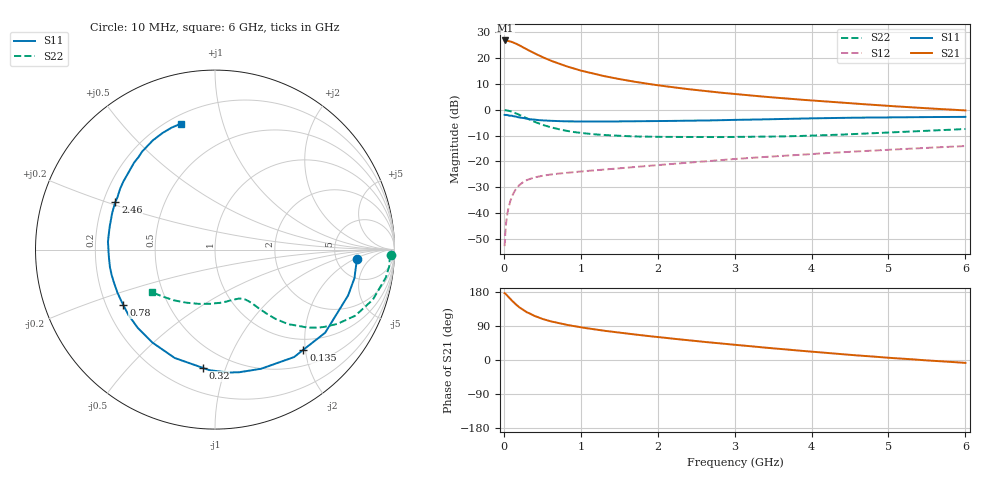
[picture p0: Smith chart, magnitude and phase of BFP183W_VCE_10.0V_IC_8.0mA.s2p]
! Infineon Technologies  Discrete & RF Semiconductors
! BFP183W
! VCE = 10.0V,  IC =  8.0 mA
! Common Emitter S-Parameters:  Jan 2016
# GHz  S  MA  R  50
!  f  S11  S21  S12  S22
! GHz  MAG  ANG  MAG  ANG  MAG  ANG  MAG  ANG
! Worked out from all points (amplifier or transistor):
!   210 points, 10 MHz to 6 GHz, reference 50 ohm
!   highest |S21| = 26.8 dB at 20 MHz (marker M1)
!   |S21| within 3 dB of that: start of sweep to 272.1 MHz
!   unconditionally stable (mu >= 1): 1.608 GHz to 5.499 GHz
!   at 185 MHz: K = 0.19, MSG = 27.4 dB, |S12| = -29.7 dB
!   at 1.52 GHz: K = 0.98, MSG = 17.2 dB, |S12| = -22.6 dB
!   at 6 GHz: K = 0.97, MSG = 6.9 dB, |S12| = -14.0 dB
!   S11 on the Smith chart (normalised r, x): 10 MHz: 8.00, -2.26; 135 MHz: 0.78, -1.96; 320 MHz: 0.36, -0.84; 780 MHz: 0.27, -0.26; 2.46 GHz: 0.25, +0.21; 6 GHz: 0.25, +0.73
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0.01  0.7927 -3.8  21.8 176.3  0.0023 84.8  0.9799 -1.8
0.02  0.7906 -7.6  21.82 175.1  0.0043 82.8  0.9744 -3.7
0.05  0.7844 -19.0  21.52 168.3  0.0107 78.4  0.9648 -9.2
0.1  0.7689 -37.0  20.54 157.7  0.0201 71.3  0.9227 -17.6
0.135  0.7441 -48.6  19.54 150.8  0.0257 65.3  0.8801 -22.8
0.15  0.7432 -53.7  19.2 147.7  0.0282 63.5  0.8642 -25.2
0.2  0.712 -68.8  17.62 139.2  0.0347 57.5  0.7983 -31.2
0.26  0.6893 -83.6  15.81 131.0  0.0405 51.7  0.7238 -36.9
0.3  0.6726 -92.6  14.65 125.9  0.0437 48.6  0.6764 -40.0
0.32  0.6619 -96.0  14.15 124.2  0.0448 47.3  0.6571 -41.0
0.4  0.6442 -110.4  12.28 116.1  0.0492 42.9  0.5823 -45.5
0.5  0.6244 -124.0  10.42 108.5  0.0529 39.5  0.5118 -48.9
0.6  0.6126 -134.6  8.991 102.5  0.0556 37.7  0.4611 -51.0
0.78  0.5973 -148.7  7.193 94.3  0.0596 36.0  0.4002 -53.6
1.02  0.5921 -162.3  5.62 85.7  0.0641 36.1  0.3534 -56.1
1.4  0.5931 -177.4  4.176 74.7  0.0717 37.6  0.3185 -59.8
2.02  0.6023 164.6  2.947 60.2  0.0854 40.4  0.2984 -68.0
2.46  0.6145 154.6  2.439 50.8  0.0964 41.3  0.2958 -75.0
3.1  0.6388 141.6  1.949 38.4  0.1141 41.2  0.2982 -87.0
4.1  0.6834 125.3  1.475 20.4  0.142 39.0  0.3184 -109.0
5.1  0.7138 113.3  1.16 4.6  0.1709 34.9  0.3675 -130.6
6  0.727 105.2  0.969 -7.6  0.1984 30.9  0.4231 -145.8
